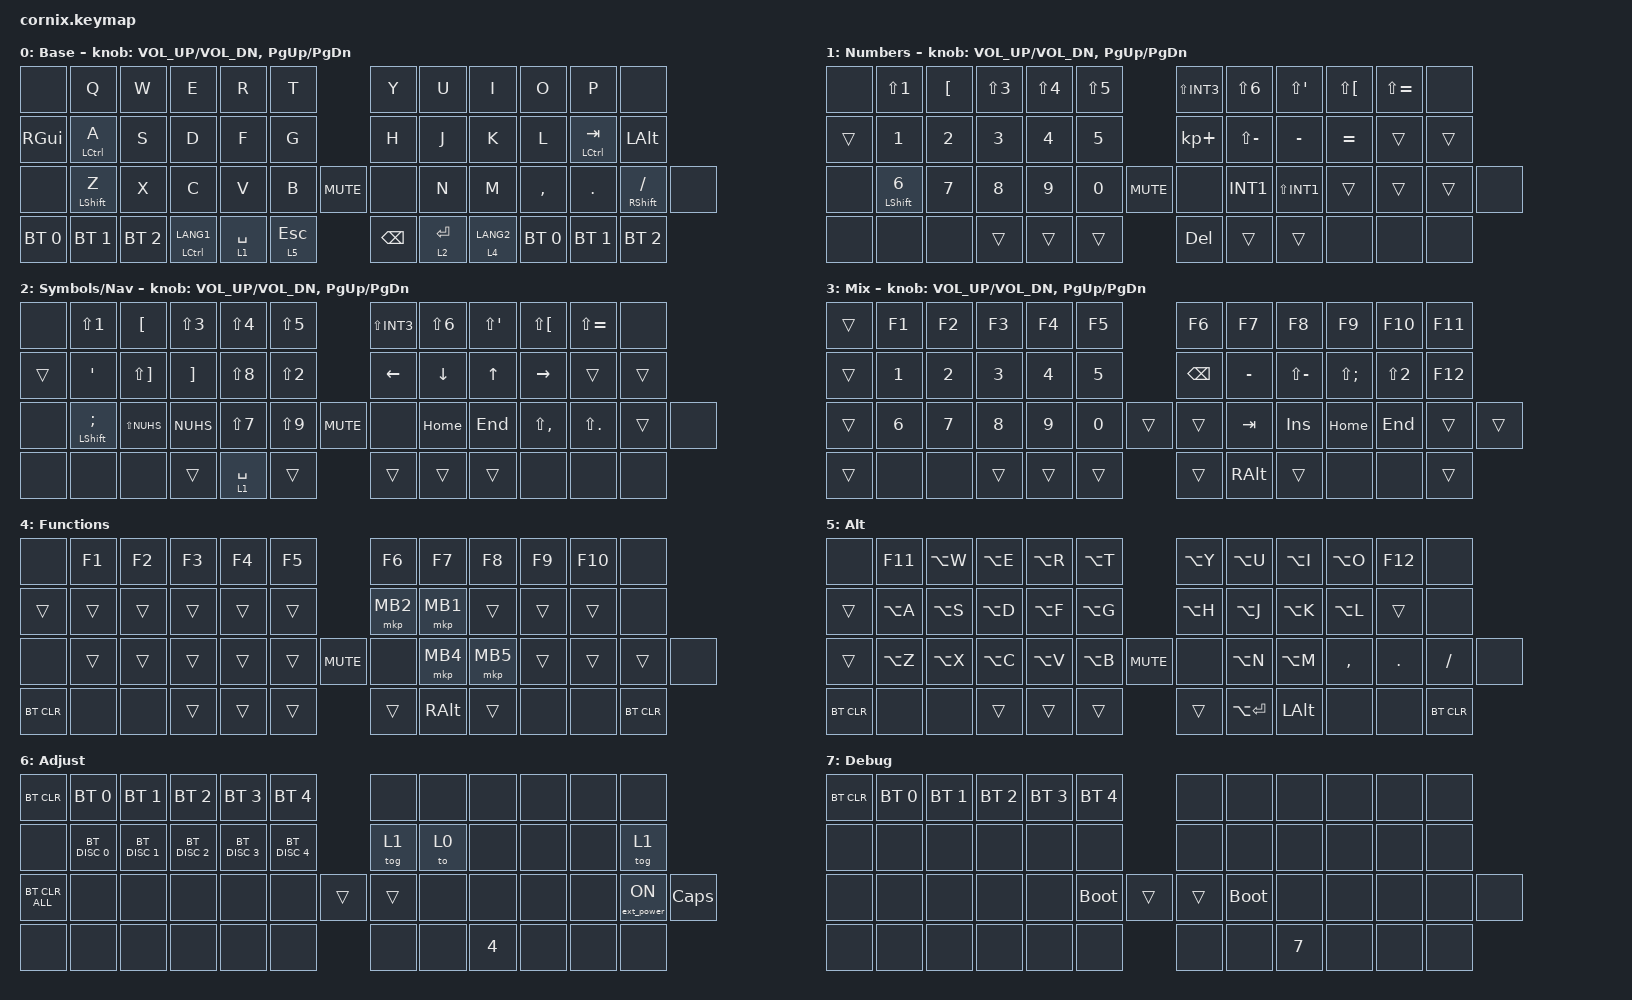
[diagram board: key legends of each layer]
/*
 * Copyright (c) 2020 The ZMK Contributors
 *
 * SPDX-License-Identifier: MIT
 */

#include "zmk-helpers/helper.h"
#include "includes/cornix54.h"
#include <behaviors.dtsi>
#include <dt-bindings/zmk/bt.h>
#include <dt-bindings/zmk/keys.h>

// tap windows for ctl alt and gui

#define HM_TAPPING_TERM 180
#define HM_QUICK_TAP_TERM 120

// quick tapping for shift

#define HM_TAPPING_TERM_FAST 170
#define HM_PRIOR_IDLE 70
#define BASE 0
#define WIN 1
#define LOWER 2
#define RAISE 3
#define ADJUST 4
#define NAVI   5
#define NUM    6
#define DEBUG  7

// https://github.com/urob/zmk-config/tree/main#timeless-homerow-mods

#define KEYS_L LT0 LT1 LT2 LT3 LT4 LT5 LM0 LM1 LM2 LM3 LM4 LM5 LB0 LB1 LB2 LB3 LB4 LB5  // left hand
#define KEYS_R RT0 RT1 RT2 RT3 RT4 RT5 RM0 RM1 RM2 RM3 RM4 RM5 RB0 RB1 RB2 RB3 RB4 RB5  // right hand
#define THUMBS LH1 LH0 RH0 RH1
#define KEYS_T LH1 LH0 RH0 RH1
#define ZMK_POINTING_DEFAULT_SCRL_VAL 15

#include <behaviors.dtsi>
#include <dt-bindings/zmk/bt.h>
#include <dt-bindings/zmk/ext_power.h>
#include <dt-bindings/zmk/keys.h>
#include <dt-bindings/zmk/pointing.h>

/ {
    // Activate ADJUST layer by pressing raise and lower

    behaviors {
        hm_l: homerow_mods_left {
            compatible = "zmk,behavior-hold-tap";
            #binding-cells = <2>;
            bindings = <&kp>, <&kp>;

            flavor = "balanced";
            tapping-term-ms = <HM_TAPPING_TERM>;
            quick-tap-ms = <HM_QUICK_TAP_TERM>;  // repeat on tap-into-hold
            require-prior-idle-ms = <HM_PRIOR_IDLE>;
            hold-trigger-key-positions = <KEYS_R KEYS_T>;
            hold-trigger-on-release;
        };

        hm_lang1: homerow_mods_left_lang1 {
            compatible = "zmk,behavior-hold-tap";
            #binding-cells = <2>;
            bindings = <&kp>, <&kp>;

            flavor = "tap-preferred";
            tapping-term-ms = <220>;
            quick-tap-ms = <HM_QUICK_TAP_TERM>;
            require-prior-idle-ms = <HM_PRIOR_IDLE>;
            hold-trigger-key-positions = <KEYS_R KEYS_T>;
            hold-trigger-on-release;
        };

        hm_l0: homerow_mods_left_quicktap0 {
            compatible = "zmk,behavior-hold-tap";
            #binding-cells = <2>;
            bindings = <&kp>, <&kp>;

            flavor = "balanced";
            tapping-term-ms = <HM_TAPPING_TERM>;
            quick-tap-ms = <0>;
            require-prior-idle-ms = <HM_PRIOR_IDLE>;
            hold-trigger-key-positions = <KEYS_R KEYS_T>;
            hold-trigger-on-release;
        };

        hm_r: homerow_mods_right {
            compatible = "zmk,behavior-hold-tap";
            #binding-cells = <2>;
            bindings = <&kp>, <&kp>;

            flavor = "balanced";
            tapping-term-ms = <HM_TAPPING_TERM>;
            quick-tap-ms = <HM_QUICK_TAP_TERM>;
            require-prior-idle-ms = <HM_PRIOR_IDLE>;
            hold-trigger-key-positions = <KEYS_L KEYS_T>;
            hold-trigger-on-release;
        };

        hm_r0: homerow_mods_right_quicktap0 {
            compatible = "zmk,behavior-hold-tap";
            #binding-cells = <2>;
            bindings = <&kp>, <&kp>;

            flavor = "balanced";
            tapping-term-ms = <HM_TAPPING_TERM>;
            quick-tap-ms = <0>;
            require-prior-idle-ms = <HM_PRIOR_IDLE>;
            hold-trigger-key-positions = <KEYS_L KEYS_T>;
            hold-trigger-on-release;
        };

        hm_tab: homerow_mods_right_tab {
            compatible = "zmk,behavior-hold-tap";
            #binding-cells = <2>;
            bindings = <&kp>, <&kp>;

            flavor = "hold-preferred";
            tapping-term-ms = <HM_TAPPING_TERM>;
            quick-tap-ms = <0>;
            require-prior-idle-ms = <HM_PRIOR_IDLE>;
            hold-trigger-key-positions = <KEYS_L KEYS_T>;
            hold-trigger-on-release;
        };

        // Positional Homerow mods for shift
        // Use faster tapping term and disable some features that may
        // cause false negatives.

        hm_shift_l: hm_shift_l {
            compatible = "zmk,behavior-hold-tap";
            #binding-cells = <2>;
            bindings = <&kp>, <&kp>;

            //flavor = "balanced";

            flavor = "balanced";
            tapping-term-ms = <HM_TAPPING_TERM_FAST>;
            quick-tap-ms = <HM_QUICK_TAP_TERM>;
            require-prior-idle-ms = <HM_PRIOR_IDLE>;
            hold-trigger-key-positions = <KEYS_R KEYS_T>;
            hold-trigger-on-release;
        };

        hm_shift_l0: hm_shift_l_quicktap0 {
            compatible = "zmk,behavior-hold-tap";
            #binding-cells = <2>;
            bindings = <&kp>, <&kp>;

            flavor = "balanced";
            tapping-term-ms = <HM_TAPPING_TERM_FAST>;
            quick-tap-ms = <0>;
            require-prior-idle-ms = <HM_PRIOR_IDLE>;
            hold-trigger-key-positions = <KEYS_R KEYS_T>;
            hold-trigger-on-release;
        };

        hm_shift_z: hm_shift_l_z {
            compatible = "zmk,behavior-hold-tap";
            #binding-cells = <2>;
            bindings = <&kp>, <&kp>;

            flavor = "hold-preferred";
            tapping-term-ms = <240>;
            quick-tap-ms = <0>;
            require-prior-idle-ms = <HM_PRIOR_IDLE>;
            hold-trigger-key-positions = <KEYS_R KEYS_T>;
            hold-trigger-on-release;
        };

        hm_shift_r: hm_shift_r {
            compatible = "zmk,behavior-hold-tap";
            #binding-cells = <2>;
            bindings = <&kp>, <&kp>;

            flavor = "balanced";
            tapping-term-ms = <HM_TAPPING_TERM_FAST>;
            quick-tap-ms = <HM_QUICK_TAP_TERM>;
            require-prior-idle-ms = <HM_PRIOR_IDLE>;
            hold-trigger-key-positions = <KEYS_L KEYS_T>;

            // for quick tapping; shift+~

            hold-trigger-on-release;
        };

        hm_shift_r0: hm_shift_r_quicktap0 {
            compatible = "zmk,behavior-hold-tap";
            #binding-cells = <2>;
            bindings = <&kp>, <&kp>;

            flavor = "balanced";
            tapping-term-ms = <HM_TAPPING_TERM_FAST>;
            quick-tap-ms = <0>;
            require-prior-idle-ms = <HM_PRIOR_IDLE>;
            hold-trigger-key-positions = <KEYS_L KEYS_T>;
            hold-trigger-on-release;
        };

        /*
         * Non-Positional Homerow Mods
         * Used for &mm_grescm_gui behavior on left hand.
         *
         * Usage: &hm LSHFT T
         * Tap: T
         * Tap-Tap-Hold: Repeat T
         * Hold: LSHIFT
         */

        hm: homerow_mods {
            compatible = "zmk,behavior-hold-tap";
            #binding-cells = <2>;
            bindings = <&kp>, <&kp>;

            flavor = "balanced";
            tapping-term-ms = <HM_TAPPING_TERM>;
            quick-tap-ms = <HM_QUICK_TAP_TERM>;
        };

        lt: layer_tap {
            compatible = "zmk,behavior-hold-tap";
            #binding-cells = <2>;
            bindings = <&mo>, <&kp>;

            flavor = "hold-preferred";
            tapping-term-ms = <HM_TAPPING_TERM>;
            quick-tap-ms = <HM_QUICK_TAP_TERM>;
        };

        lt_lang2: layer_tap_lang2 {
            compatible = "zmk,behavior-hold-tap";
            #binding-cells = <2>;
            bindings = <&mo>, <&kp>;

            flavor = "tap-preferred";
            tapping-term-ms = <220>;
            quick-tap-ms = <HM_QUICK_TAP_TERM>;
        };

        lt0: layer_tap_quicktap0 {
            compatible = "zmk,behavior-hold-tap";
            #binding-cells = <2>;
            bindings = <&mo>, <&kp>;

            flavor = "hold-preferred";
            tapping-term-ms = <HM_TAPPING_TERM>;
            quick-tap-ms = <0>;
        };

        lt_space: layer_tap_space {
            compatible = "zmk,behavior-hold-tap";
            #binding-cells = <2>;
            bindings = <&mo>, <&kp>;

            flavor = "tap-preferred";
            tapping-term-ms = <HM_TAPPING_TERM>;
            quick-tap-ms = <0>;
        };
    };

    conditional_layers {
        compatible = "zmk,conditional-layers";

        adjust_layer {
            if-layers = <1 2>;
            then-layer = <6>;
        };
    };

    combos {
        compatible = "zmk,combos";

        cb_ltm {
            bindings = <&kp ESC>;
            key-positions = <2 4>;
            layers = <0 1>;
        };

        cb_lm {
            bindings = <&kp TAB>;
            key-positions = <14 16>;
            layers = <0 1>;
        };

        cb_enter {
            bindings = <&kp RET>;
            key-positions = <21 19>;
            layers = <0 1>;
        };

        layer3 {
            bindings = <&kp N3>;
            key-positions = <5 6>;
        };

        layer4 {
            bindings = <&kp N4>;
            key-positions = <5 6>;
        };
    };

    keymap {
        compatible = "zmk,keymap";

        default_layer {
            display-name = "Base";

            // ------------------------------------------------------------------------------------------------------------
            // |   `   |  1  |  2  |  3   |  4   |  5   |                   |  6   |  7    |  8    |  9   |   0   |       |
            // |  ESC  |  Q  |  W  |  E   |  R   |  T   |                   |  Y   |  U    |  I    |  O   |   P   | BKSPC |
            // |  TAB  |  A  |  S  |  D   |  F   |  G   |                   |  H   |  J    |  K    |  L   |   ;   |   '   |
            // | SHIFT |  Z  |  X  |  C   |  V   |  B   |  MUTE  |  |       |  N   |  M    |  ,    |  .   |   /   | SHIFT |
            //               | GUI | ALT  | CTRL | LOWER|  ENTER |  | SPACE | RAISE| CTRL  | ALT   | GUI  |

            bindings = <
&none     &kp Q               &kp W      &kp E      &kp R      &kp T                       &kp Y      &kp U       &kp I      &kp O            &kp P             &none
&kp RGUI  &hm_l0 LCTRL A      &kp S      &kp D      &kp F      &kp G                       &kp H      &kp J       &kp K      &kp L            &hm_tab LCTRL TAB  &kp LALT
&none  &hm_shift_z LSHFT Z  &kp X    &kp C      &kp V      &kp B        &kp C_MUTE  &none      &kp N       &kp M      &kp COMMA        &kp DOT           &hm_shift_r0 RSHFT FSLH  &none
&bt BT_SEL 0       &bt BT_SEL 1      &bt BT_SEL 2      &hm_lang1 LCTRL LANG1  &lt_space 1 SPACE  &lt 5 ESCAPE                &kp BACKSPACE  &lt0 2 ENTER  &lt_lang2 4 LANG2  &bt BT_SEL 0       &bt BT_SEL 1      &bt BT_SEL 2
            >;
            sensor-bindings = <&inc_dec_kp C_VOL_UP C_VOL_DN &inc_dec_kp PG_UP PG_DN>;
        };

        win_layer {
            display-name = "Numbers";

            // ------------------------------------------------------------------------------------------------------------
            // |   `   |  1  |  2  |  3   |  4   |  5   |                   |  6   |  7    |  8    |  9   |   0   |       |
            // |  ESC  |  Q  |  W  |  E   |  R   |  T   |                   |  Y   |  U    |  I    |  O   |   P   | BKSPC |
            // |  TAB  |  A  |  S  |  D   |  F   |  G   |                   |  H   |  J    |  K    |  L   |   ;   |   '   |
            // | SHIFT |  Z  |  X  |  C   |  V   |  B   |  MUTE  |  |       |  N   |  M    |  ,    |  .   |   /   | SHIFT |
            //               | GUI | ALT  | CTRL | LOWER|  ENTER |  | SPACE | RAISE| CTRL  | ALT   | GUI  |

            bindings = <
&none   &kp LS(N1)             &kp LBKT   &kp LS(N3)   &kp LS(N4)   &kp LS(N5)               &kp LS(INT3)  &kp LS(N6)    &kp LS(SQT)   &kp LS(LBKT)   &kp LS(EQUAL)  &none
&trans  &kp N1                 &kp N2     &kp N3       &kp N4       &kp N5                   &kp KP_PLUS   &kp LS(MINUS) &kp MINUS     &kp EQUAL      &trans        &trans
&none   &hm_shift_l LSHFT N6   &kp N7     &kp N8       &kp N9       &kp N0      &kp C_MUTE  &none       &kp INT1      &kp LS(INT1)  &trans       &trans        &trans        &none
&none   &none                  &none      &trans       &trans       &trans                    &kp DEL       &trans        &trans        &none         &none         &none
            >;
            sensor-bindings = <&inc_dec_kp C_VOL_UP C_VOL_DN &inc_dec_kp PG_UP PG_DN>;
        };

        Symbol_layer {
            display-name = "Symbols/Nav";

            // Japanese-layout host symbol equivalents based on QMK JP_* keycodes.
            // -------------------------------
            // |       |  F1 |  F2 |  F3  |  F4  |  F5  |                   |  F6  |  F7   |  F8   |  F9  |  F10  |  F11  |
            // |   `   |  1  |  2  |  3   |  4   |  5   |                   |  6   |  7    |  8    |  9   |   0   |  F12  |
            // |       |  !  |  @  |  #   |  $   |  %   |                   |  ^   |  &    |  *    |  (   |   )   |   |   |
            // |       |  =  |  -  |  +   |  {   |  }   |        |  |       |  [   |  ]    |  ;    |  :   |   \   |       |
            //               |     |      |      |      |        |  |       |      |       |       |      |

            bindings = <
&none   &kp LS(N1)              &kp LBKT     &kp LS(N3)    &kp LS(N4)   &kp LS(N5)                &kp LS(INT3)  &kp LS(N6)  &kp LS(SQT)     &kp LS(LBKT)  &kp LS(EQUAL) &none
&trans  &kp SQT                 &kp LS(RBKT) &kp RBKT      &kp LS(N8)   &kp LS(N2)                &kp LEFT      &kp DOWN    &kp UP          &kp RIGHT     &trans        &trans
&none   &hm_shift_l LSHFT SEMI  &kp LS(NUHS) &kp NUHS      &kp LS(N7)   &kp LS(N9)   &kp C_MUTE  &none       &kp HOME    &kp END         &kp LS(COMMA)  &kp LS(DOT)   &trans        &none
&none   &none                   &none        &trans        &lt0 1 SPACE &trans                     &trans        &trans      &trans          &none         &none         &none
            >;
            sensor-bindings = <&inc_dec_kp C_VOL_UP C_VOL_DN &inc_dec_kp PG_UP PG_DN>;
        };

        Mix_layer {
            display-name = "Mix";

            // ------------------------------------------------------------------------------------------------------------
            // | BTCLR | BT1  | BT2  |  BT3  |  BT4  |  BT5 |                |      |      |       |      |       |       |
            // |       | INS  | PSCR | GUI   |       |      |                | PGUP |      |   ^   |      |       |       |
            // |       | ALT  | CTRL | SHIFT |       | CAPS |                | PGDN |   <- |   v   |  ->  |  DEL  | BKSPC |
            // |       | UNDO | CUT  | COPY  | PASTE |      |      |  |      |      |      |       |      |       |       |
            //                |      |       |       |      |      |  |      |      |      |       |      |

            bindings = <
&trans  &kp F1  &kp F2  &kp F3   &kp F4  &kp F5                         &kp F6    &kp F7        &kp F8        &kp F9        &kp F10     &kp F11
&trans  &kp N1  &kp N2  &kp N3   &kp N4  &kp N5                         &kp BSPC  &kp MINUS     &kp LS(MINUS) &kp LS(SEMI)  &kp LS(N2)  &kp F12
&trans  &kp N6  &kp N7  &kp N8   &kp N9  &kp N0         &trans  &trans  &kp TAB   &kp INS       &kp HOME      &kp END       &trans      &trans
&trans   &none   &none   &trans   &trans  &trans                         &trans    &kp RALT      &trans        &none         &none       &trans
            >;
            sensor-bindings = <&inc_dec_kp C_VOL_UP C_VOL_DN &inc_dec_kp PG_UP PG_DN>;
        };

        Adjust_layer {
            display-name = "Functions";

            // ----------------------------------------------------------------------------------------------------------------------------
            // | BTCLR  |  BT1    |  BT2    |   BT3   |   BT4   |   BT5   |                  |      |      |       |      |       |       |
            // | moDEBUG| RGB_HUD | RGB_HUI | RGB_SAD | RGB_SAI | RGB_EFF |                  |      |      |       |      |       |       |
            // | EXTPWR | RGB_BRD | RGB_BRI |         |         |         |                  |      |      |       |      |       |       |
            // |        |         |         |         |         |         | RGB_TOG | |      |      |      |       |      |       |       |
            //                    |         |         |         |         |         | |      |      |      |       |      |

            bindings = <
&none   &kp F1   &kp F2   &kp F3   &kp F4   &kp F5                       &kp F6     &kp F7     &kp F8   &kp F9    &kp F10  &none
&trans  &trans   &trans   &trans   &trans   &trans                       &mkp MB2   &mkp MB1   &trans   &trans    &trans   &none
&none   &trans   &trans   &trans   &trans   &trans       &kp C_MUTE  &none      &mkp MB4   &mkp MB5  &trans    &trans   &trans   &none
&bt BT_CLR   &none    &none    &trans   &trans   &trans                       &trans     &kp RALT   &trans   &none     &none    &bt BT_CLR
            >;
        };

        Navi_layer {
            display-name = "Alt";
            bindings = <
&none      &kp F11     &kp LA(W)  &kp LA(E)  &kp LA(R)  &kp LA(T)                   &kp LA(Y)  &kp LA(U)   &kp LA(I)    &kp LA(O)   &kp F12       &none
&trans     &kp LA(A)   &kp LA(S)  &kp LA(D)  &kp LA(F)  &kp LA(G)                   &kp LA(H)  &kp LA(J)   &kp LA(K)    &kp LA(L)   &trans        &none
&trans     &kp LA(Z)   &kp LA(X)  &kp LA(C)  &kp LA(V)  &kp LA(B)   &kp C_MUTE  &none      &kp LA(N)   &kp LA(M)   &kp COMMA     &kp DOT     &kp FSLH      &none
&bt BT_CLR      &none       &none      &trans     &trans     &trans                      &trans     &kp LA(ENTER) &kp LALT   &none       &none         &bt BT_CLR
            >;
        };

        KeyPad_layer {
            display-name = "Adjust";
            bindings = <
&bt BT_CLR      &bt BT_SEL 0   &bt BT_SEL 1   &bt BT_SEL 2   &bt BT_SEL 3   &bt BT_SEL 4                   &none   &none  &none   &none  &none             &none
&none           &bt BT_DISC 0  &bt BT_DISC 1  &bt BT_DISC 2  &bt BT_DISC 3  &bt BT_DISC 4                  &tog 1  &to 0  &none   &none  &none             &tog 1
&bt BT_CLR_ALL  &none          &none          &none          &none          &none          &trans  &trans  &none   &none  &none   &none  &ext_power EP_ON  &kp CAPSLOCK
&none           &none          &none          &none          &none          &none                          &none   &none  &kp N4  &none  &none             &none
            >;
        };

        Debug_layer {
            display-name = "Debug";

            // ----------------------------------------------------------------------------------------------------------------------------
            // | BTCLR  |  BT1    |  BT2    |   BT3   |   BT4   |   BT5   |                  |      |      |       |      |       |       |
            // | EXTPWR | BTCLR | RGB_HUI | RGB_SAD | RGB_SAI | RGB_EFF |                  |      |      |       |      |       |       |
            // |        | RGB_BRD | RGB_BRI |         |         |         |                  |      |      |       |      |       |       |
            // |        |         |         |         |         |         | RGB_TOG | |      |      |      |       |      |       |       |
            //                    |         |         |         |         |         | |      |      |      |       |      |

            bindings = <
&bt BT_CLR  &bt BT_SEL 0  &bt BT_SEL 1  &bt BT_SEL 2  &bt BT_SEL 3  &bt BT_SEL 4                  &none        &none  &none   &none  &none  &none
&none       &none         &none         &none         &none         &none                         &none        &none  &none   &none  &none  &none
&none       &none         &none         &none         &none         &bootloader   &trans  &trans  &bootloader  &none  &none   &none  &none  &none
&none       &none         &none         &none         &none         &none                         &none        &none  &kp N7  &none  &none  &none
            >;
        };
    };
};
